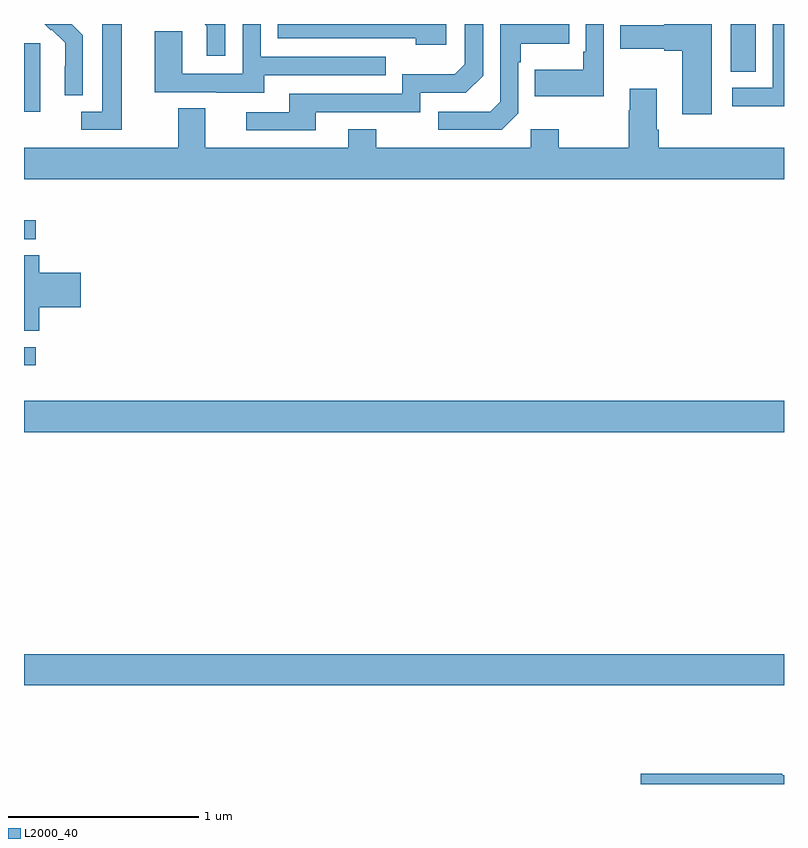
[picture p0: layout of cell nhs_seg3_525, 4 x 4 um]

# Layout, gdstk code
import gdstk
lib = gdstk.Library(unit=1e-6, precision=1e-09)
def R(c, l, rs):  # rectangles x0, y0, x1, y1
    for r in rs: c.add(gdstk.rectangle(r[:2], r[2:], *l))
def P(c, l, *ps):  # polygons
    for p in ps: c.add(gdstk.Polygon(p, *l))
L2000_40 = (2000, 40)

nhs_seg3_525 = lib.new_cell('nhs_seg3_525')
R(nhs_seg3_525, L2000_40, [(137,696.92,141,697.084), (137,698.252,141,698.416), (137,698.604,137.062,698.7), (137,699.267,137.062,699.366), (137,699.938,137.086,700.299), (140.72,700.15,140.851,700.4)])
P(nhs_seg3_525, L2000_40, [(141,700.4),(140.94,700.4),(140.94,700.065),(140.727,700.065),(140.727,699.967),(141,699.967)],
  [(140.62,700.4),(140.369,700.4),(140.369,700.393),(140.139,700.393),(140.139,700.271),(140.369,700.271),(140.369,700.259),(140.465,700.259),(140.465,699.924),(140.62,699.924)],
  [(139.602,699.93),(139.602,700.199),(139.615,700.199),(139.615,700.295),(139.871,700.295),(139.871,700.4),(139.506,700.4),(139.506,699.99),(139.455,699.939),(139.179,699.939),(139.179,699.843),(139.515,699.843)],
  [(138.535,699.936),(139.086,699.936),(139.086,700.038),(139.326,700.038),(139.416,700.128),(139.416,700.4),(139.32,700.4),(139.32,700.188),(139.267,700.135),(138.99,700.135),(138.99,700.032),(138.395,700.032),(138.395,699.936),(138.171,699.936),(138.171,699.84),(138.535,699.84)],
  [(138.06,700.4),(137.952,700.4),(137.963,700.389),(137.963,700.233),(138.06,700.233)],
  [(137.515,700.4),(137.411,700.4),(137.411,699.939),(137.301,699.939),(137.301,699.843),(137.515,699.843)],
  [(138.265,700.131),(138.905,700.131),(138.905,700.227),(138.246,700.227),(138.246,700.4),(138.15,700.4),(138.15,700.137),(137.832,700.137),(137.832,700.361),(137.687,700.361),(137.687,700.041),(138.011,700.041),(138.011,700.037),(138.265,700.037)],
  [(140.052,700.4),(139.956,700.4),(139.956,700.255),(139.944,700.255),(139.944,700.159),(139.687,700.159),(139.687,700.019),(140.052,700.019)],
  [(137.31,700.342),(137.252,700.4),(137.11,700.4),(137.142,700.368),(137.145,700.371),(137.216,700.301),(137.216,700.178),(137.214,700.178),(137.214,700.024),(137.31,700.024)],
  [(139.222,700.4),(138.336,700.4),(138.336,700.326),(139.061,700.326),(139.061,700.292),(139.222,700.292)],
  [(141,699.748),(140.342,699.748),(140.342,699.844),(140.329,699.844),(140.329,700.06),(140.189,700.06),(140.189,699.947),(140.182,699.947),(140.182,699.748),(139.815,699.748),(139.815,699.847),(139.668,699.847),(139.668,699.748),(138.855,699.748),(138.855,699.847),(138.707,699.847),(138.707,699.748),(137.953,699.748),(137.953,699.956),(137.813,699.956),(137.813,699.748),(137,699.748),(137,699.584),(141,699.584)],
  [(137.081,698.909),(137.299,698.909),(137.299,699.092),(137.081,699.092),(137.081,699.182),(137,699.182),(137,698.785),(137.081,698.785)],
  [(141,696.446),(140.99,696.446),(140.99,696.454),(140.246,696.454),(140.246,696.4),(141,696.4)])

lib.write_gds('nhs_seg3_525.gds')
